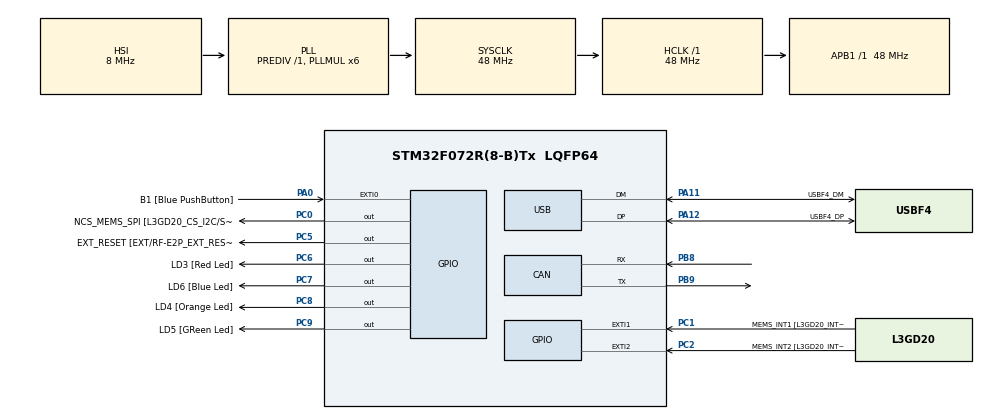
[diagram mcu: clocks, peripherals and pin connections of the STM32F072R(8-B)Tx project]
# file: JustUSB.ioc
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CAN.CalculateTimeQuantum=333.3333333333333
CRC.CRCLength=CRC_POLYLENGTH_16B
CRC.DefaultInitValueUse=DEFAULT_INIT_VALUE_DISABLE
CRC.DefaultPolynomialUse=DEFAULT_POLYNOMIAL_DISABLE
CRC.GeneratingPolynomial=X15+X10+X3+X0
CRC.InputDataFormat=CRC_INPUTDATA_FORMAT_BYTES
Mcu.Family=STM32F0
Mcu.Name=STM32F072R(8-B)Tx
Mcu.Package=LQFP64
NVIC.EXTI0_1_IRQn=true\:0\:0\:false\:false\:true\:true\:true
NVIC.USB_IRQn=true\:0\:0\:false\:false\:true\:false\:true
PA0.GPIO_Label=B1 [Blue PushButton]
PA0.GPIO_ModeDefaultEXTI=GPIO_MODE_IT_RISING
PA0.Signal=GPXTI0
PA11.GPIO_Label=USBF4_DM
PA11.Mode=Device
PA11.Signal=USB_DM
PA12.GPIO_Label=USBF4_DP
PA12.Mode=Device
PA12.Signal=USB_DP
PA13.GPIO_Label=SWDIO
PA13.Signal=SYS_SWDIO
PA14.GPIO_Label=SWCLK
PA14.Signal=SYS_SWCLK
PA2.Signal=TSC_G1_IO3
PA3.Signal=TSC_G1_IO4
PA6.Signal=TSC_G2_IO3
PA7.Signal=TSC_G2_IO4
PB0.Signal=TSC_G3_IO2
PB1.Signal=TSC_G3_IO3
PB10.GPIO_Label=I2C2_SCL[EXT/RF-E2P_SCL]
PB10.Signal=I2C2_SCL
PB11.GPIO_Label=I2C2_SDA[EXT/RF-E2P_SDA]
PB11.Signal=I2C2_SDA
PB13.GPIO_Label=SPI2_SCK [L3GD20_SCL/SPC]
PB13.Signal=SPI2_SCK
PB14.GPIO_Label=SPI2_MISO [L3GD20_SDO]
PB14.Signal=SPI2_MISO
PB15.GPIO_Label=SPI2_MOSI [L3GD20_SDA/SDI]
PB15.Signal=SPI2_MOSI
PB8.Mode=Master
PB8.Signal=CAN_RX
PB9.Mode=Master
PB9.Signal=CAN_TX
PC0.GPIO_Label=NCS_MEMS_SPI [L3GD20_CS_I2C/SPI]
PC0.Signal=GPIO_Output
PC1.GPIO_Label=MEMS_INT1 [L3GD20_INT1]
PC1.GPIO_ModeDefaultEXTI=GPIO_MODE_EVT_RISING
PC1.Signal=GPXTI1
PC2.GPIO_Label=MEMS_INT2 [L3GD20_INT2]
PC2.GPIO_ModeDefaultEXTI=GPIO_MODE_EVT_RISING
PC2.Signal=GPXTI2
PC5.GPIO_Label=EXT_RESET [EXT/RF-E2P_EXT_RESET]
PC5.Signal=GPIO_Output
PC6.GPIO_Label=LD3 [Red Led]
PC6.Signal=GPIO_Output
PC7.GPIO_Label=LD6 [Blue Led]
PC7.Signal=GPIO_Output
PC8.GPIO_Label=LD4 [Orange Led]
PC8.Signal=GPIO_Output
PC9.GPIO_Label=LD5 [GReen Led]
PC9.Signal=GPIO_Output
ProjectManager.HeapSize=0x600
ProjectManager.StackSize=0x400
ProjectManager.TargetToolchain=MDK-ARM V5.27
RCC.AHBFreq_Value=48000000
RCC.APB1Freq_Value=48000000
RCC.APB1TimFreq_Value=48000000
RCC.HCLKFreq_Value=48000000
RCC.PLLMUL=RCC_PLL_MUL6
RCC.SYSCLKFreq_VALUE=48000000
RCC.SYSCLKSource=RCC_SYSCLKSOURCE_PLLCLK
USB_DEVICE.APP_RX_DATA_SIZE=64
USB_DEVICE.APP_TX_DATA_SIZE=64
USB_DEVICE.CLASS_NAME_FS=CDC
USB_DEVICE.MANUFACTURER_STRING=SagaRobotics
USB_DEVICE.PRODUCT_STRING_CDC_FS=SagaRobotics MainPCB VCP
USB_DEVICE.VirtualMode=Cdc
USB_DEVICE.VirtualModeFS=Cdc_FS
VP_CRC_VS_CRC.Mode=CRC_Activate
VP_USB_DEVICE_VS_USB_DEVICE_CDC_FS.Mode=CDC_FS
board=STM32F072B-DISCO

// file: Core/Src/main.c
/* USER CODE BEGIN Header */
/**
  ******************************************************************************
  * @file           : main.c
  * @brief          : Main program body
  ******************************************************************************
  * @attention
  *
  * <h2><center>&copy; Copyright (c) 2020 STMicroelectronics.
  * All rights reserved.</center></h2>
  *
  * This software component is licensed by ST under Ultimate Liberty license
  * SLA0044, the "License"; You may not use this file except in compliance with
  * the License. You may obtain a copy of the License at:
  *                             www.st.com/SLA0044
  *
  ******************************************************************************
  */
/* USER CODE END Header */

#include "main.h"
#include "usb_device.h"

/* USER CODE BEGIN Includes */
#include "usbd_cdc_if.h"
#include <string.h>
#include "EventRecorder.h"		// Keil.ARM Compiler::Compiler:Event Recorder

/* USER CODE END Includes */

CAN_HandleTypeDef hcan;

CRC_HandleTypeDef hcrc;

/* USER CODE BEGIN PV */
//extern USBD_HandleTypeDef hUsbDeviceFS;

/* USER CODE END PV */

void SystemClock_Config(void);
static void MX_GPIO_Init(void);
static void MX_CAN_Init(void);
static void MX_CRC_Init(void);
/* USER CODE BEGIN PFP */

//unsigned long crcbitbybitfast(unsigned char* p, unsigned long len);

/* USER CODE END PFP */

int main(void)
{

  /* MCU Configuration--------------------------------------------------------*/

  /* Reset of all peripherals, Initializes the Flash interface and the Systick. */
  HAL_Init();

  /* Configure the system clock */
  SystemClock_Config();

  /* Initialize all configured peripherals */
  MX_GPIO_Init();
  MX_USB_DEVICE_Init();
  MX_CAN_Init();
  MX_CRC_Init();
  /* USER CODE BEGIN 2 */
	EventRecorderInitialize(EventRecordAll, 1);

	uint8_t msgBuf[] = "Hello from Saga STM32 Main PCB built in USB\r\n";
	//uint8_t testBuff[] = {99, 5, 4, 8, 0, 0, 0, 0, 0, 0, 0, 0};

  /* USER CODE END 2 */

  /* Infinite loop */
  /* USER CODE BEGIN WHILE */

  while (1)
  {
    HAL_GPIO_WritePin(LD3_GPIO_Port, LD3_Pin, GPIO_PIN_SET);
		CDC_Transmit_FS(msgBuf, strlen((const char *)msgBuf));
		HAL_Delay(100);
		HAL_GPIO_WritePin(LD3_GPIO_Port, LD3_Pin, GPIO_PIN_RESET);
		HAL_Delay(9900);

    /* USER CODE END WHILE */

  }
}

void SystemClock_Config(void)
{
  RCC_OscInitTypeDef RCC_OscInitStruct = {0};
  RCC_ClkInitTypeDef RCC_ClkInitStruct = {0};
  RCC_PeriphCLKInitTypeDef PeriphClkInit = {0};

  /** Initializes the CPU, AHB and APB busses clocks
  */
  RCC_OscInitStruct.OscillatorType = RCC_OSCILLATORTYPE_HSI|RCC_OSCILLATORTYPE_HSI48;
  RCC_OscInitStruct.HSIState = RCC_HSI_ON;
  RCC_OscInitStruct.HSI48State = RCC_HSI48_ON;
  RCC_OscInitStruct.HSICalibrationValue = RCC_HSICALIBRATION_DEFAULT;
  RCC_OscInitStruct.PLL.PLLState = RCC_PLL_ON;
  RCC_OscInitStruct.PLL.PLLSource = RCC_PLLSOURCE_HSI;
  RCC_OscInitStruct.PLL.PLLMUL = RCC_PLL_MUL6;
  RCC_OscInitStruct.PLL.PREDIV = RCC_PREDIV_DIV1;
  if (HAL_RCC_OscConfig(&RCC_OscInitStruct) != HAL_OK)
  {
    Error_Handler();
  }
  /** Initializes the CPU, AHB and APB busses clocks
  */
  RCC_ClkInitStruct.ClockType = RCC_CLOCKTYPE_HCLK|RCC_CLOCKTYPE_SYSCLK
                              |RCC_CLOCKTYPE_PCLK1;
  RCC_ClkInitStruct.SYSCLKSource = RCC_SYSCLKSOURCE_PLLCLK;
  RCC_ClkInitStruct.AHBCLKDivider = RCC_SYSCLK_DIV1;
  RCC_ClkInitStruct.APB1CLKDivider = RCC_HCLK_DIV1;

  if (HAL_RCC_ClockConfig(&RCC_ClkInitStruct, FLASH_LATENCY_1) != HAL_OK)
  {
    Error_Handler();
  }
  PeriphClkInit.PeriphClockSelection = RCC_PERIPHCLK_USB;
  PeriphClkInit.UsbClockSelection = RCC_USBCLKSOURCE_HSI48;

  if (HAL_RCCEx_PeriphCLKConfig(&PeriphClkInit) != HAL_OK)
  {
    Error_Handler();
  }
}

static void MX_CAN_Init(void)
{

  hcan.Instance = CAN;
  hcan.Init.Prescaler = 16;
  hcan.Init.Mode = CAN_MODE_NORMAL;
  hcan.Init.SyncJumpWidth = CAN_SJW_1TQ;
  hcan.Init.TimeSeg1 = CAN_BS1_1TQ;
  hcan.Init.TimeSeg2 = CAN_BS2_1TQ;
  hcan.Init.TimeTriggeredMode = DISABLE;
  hcan.Init.AutoBusOff = DISABLE;
  hcan.Init.AutoWakeUp = DISABLE;
  hcan.Init.AutoRetransmission = DISABLE;
  hcan.Init.ReceiveFifoLocked = DISABLE;
  hcan.Init.TransmitFifoPriority = DISABLE;
  if (HAL_CAN_Init(&hcan) != HAL_OK)
  {
    Error_Handler();
  }

}

static void MX_CRC_Init(void)
{

  hcrc.Instance = CRC;
  hcrc.Init.DefaultPolynomialUse = DEFAULT_POLYNOMIAL_DISABLE;
  hcrc.Init.DefaultInitValueUse = DEFAULT_INIT_VALUE_DISABLE;
  hcrc.Init.GeneratingPolynomial = 0x8005;
  hcrc.Init.CRCLength = CRC_POLYLENGTH_16B;
  hcrc.Init.InitValue = 0;
  hcrc.Init.InputDataInversionMode = CRC_INPUTDATA_INVERSION_NONE;
  hcrc.Init.OutputDataInversionMode = CRC_OUTPUTDATA_INVERSION_DISABLE;
  hcrc.InputDataFormat = CRC_INPUTDATA_FORMAT_BYTES;
  if (HAL_CRC_Init(&hcrc) != HAL_OK)
  {
    Error_Handler();
  }
  /* USER CODE BEGIN CRC_Init 2 */

	// Set the custom SAGA CRC polynomial for the CRC block to use
	if (HAL_CRCEx_Polynomial_Set(&hcrc, 0x8408, CRC_POLYLENGTH_16B) != HAL_OK)
  {
    Error_Handler();
  }
  /* USER CODE END CRC_Init 2 */

}

static void MX_GPIO_Init(void)
{
  GPIO_InitTypeDef GPIO_InitStruct = {0};

  /* GPIO Ports Clock Enable */
  __HAL_RCC_GPIOC_CLK_ENABLE();
  __HAL_RCC_GPIOA_CLK_ENABLE();
  __HAL_RCC_GPIOB_CLK_ENABLE();

  /*Configure GPIO pin Output Level */
  HAL_GPIO_WritePin(GPIOC, NCS_MEMS_SPI_Pin|EXT_RESET_Pin|LD3_Pin|LD6_Pin
                          |LD4_Pin|LD5_Pin, GPIO_PIN_RESET);

  /*Configure GPIO pins : NCS_MEMS_SPI_Pin EXT_RESET_Pin LD3_Pin LD6_Pin
                           LD4_Pin LD5_Pin */
  GPIO_InitStruct.Pin = NCS_MEMS_SPI_Pin|EXT_RESET_Pin|LD3_Pin|LD6_Pin
                          |LD4_Pin|LD5_Pin;
  GPIO_InitStruct.Mode = GPIO_MODE_OUTPUT_PP;
  GPIO_InitStruct.Pull = GPIO_NOPULL;
  GPIO_InitStruct.Speed = GPIO_SPEED_FREQ_LOW;
  HAL_GPIO_Init(GPIOC, &GPIO_InitStruct);

  /*Configure GPIO pins : MEMS_INT1_Pin MEMS_INT2_Pin */
  GPIO_InitStruct.Pin = MEMS_INT1_Pin|MEMS_INT2_Pin;
  GPIO_InitStruct.Mode = GPIO_MODE_EVT_RISING;
  GPIO_InitStruct.Pull = GPIO_NOPULL;
  HAL_GPIO_Init(GPIOC, &GPIO_InitStruct);

  /*Configure GPIO pin : B1_Pin */
  GPIO_InitStruct.Pin = B1_Pin;
  GPIO_InitStruct.Mode = GPIO_MODE_IT_RISING;
  GPIO_InitStruct.Pull = GPIO_NOPULL;
  HAL_GPIO_Init(B1_GPIO_Port, &GPIO_InitStruct);

  /*Configure GPIO pins : PA2 PA3 PA6 PA7 */
  GPIO_InitStruct.Pin = GPIO_PIN_2|GPIO_PIN_3|GPIO_PIN_6|GPIO_PIN_7;
  GPIO_InitStruct.Mode = GPIO_MODE_AF_PP;
  GPIO_InitStruct.Pull = GPIO_NOPULL;
  GPIO_InitStruct.Speed = GPIO_SPEED_FREQ_LOW;
  GPIO_InitStruct.Alternate = GPIO_AF3_TSC;
  HAL_GPIO_Init(GPIOA, &GPIO_InitStruct);

  /*Configure GPIO pins : PB0 PB1 */
  GPIO_InitStruct.Pin = GPIO_PIN_0|GPIO_PIN_1;
  GPIO_InitStruct.Mode = GPIO_MODE_AF_PP;
  GPIO_InitStruct.Pull = GPIO_NOPULL;
  GPIO_InitStruct.Speed = GPIO_SPEED_FREQ_LOW;
  GPIO_InitStruct.Alternate = GPIO_AF3_TSC;
  HAL_GPIO_Init(GPIOB, &GPIO_InitStruct);

  /*Configure GPIO pins : I2C2_SCL_Pin I2C2_SDA_Pin */
  GPIO_InitStruct.Pin = I2C2_SCL_Pin|I2C2_SDA_Pin;
  GPIO_InitStruct.Mode = GPIO_MODE_AF_OD;
  GPIO_InitStruct.Pull = GPIO_PULLUP;
  GPIO_InitStruct.Speed = GPIO_SPEED_FREQ_HIGH;
  GPIO_InitStruct.Alternate = GPIO_AF1_I2C2;
  HAL_GPIO_Init(GPIOB, &GPIO_InitStruct);

  /*Configure GPIO pins : SPI2_SCK_Pin SPI2_MISO_Pin SPI2_MOSI_Pin */
  GPIO_InitStruct.Pin = SPI2_SCK_Pin|SPI2_MISO_Pin|SPI2_MOSI_Pin;
  GPIO_InitStruct.Mode = GPIO_MODE_AF_PP;
  GPIO_InitStruct.Pull = GPIO_NOPULL;
  GPIO_InitStruct.Speed = GPIO_SPEED_FREQ_HIGH;
  GPIO_InitStruct.Alternate = GPIO_AF0_SPI2;
  HAL_GPIO_Init(GPIOB, &GPIO_InitStruct);

  /* EXTI interrupt init*/
  HAL_NVIC_SetPriority(EXTI0_1_IRQn, 0, 0);
  HAL_NVIC_EnableIRQ(EXTI0_1_IRQn);

}

/* USER CODE BEGIN 4 */

// Blue Push Button Interrupt Callback
void HAL_GPIO_EXTI_Callback(uint16_t GPIO_Pin)
{
	if(GPIO_Pin == B1_Pin)
	{
		const char testBuf[15] = "Testing...\r\n";
		HAL_GPIO_TogglePin(LD5_GPIO_Port, LD5_Pin);
		CDC_Transmit_FS((uint8_t *)testBuf, strlen(testBuf));
	}
}

/* USER CODE END 4 */

void Error_Handler(void)
{
  /* USER CODE BEGIN Error_Handler_Debug */
  /* User can add his own implementation to report the HAL error return state */
	while(1);	// there has been an error, make program hang here and inspect the stack trace

  /* USER CODE END Error_Handler_Debug */
}

/************************ (C) COPYRIGHT STMicroelectronics *****END OF FILE****/
